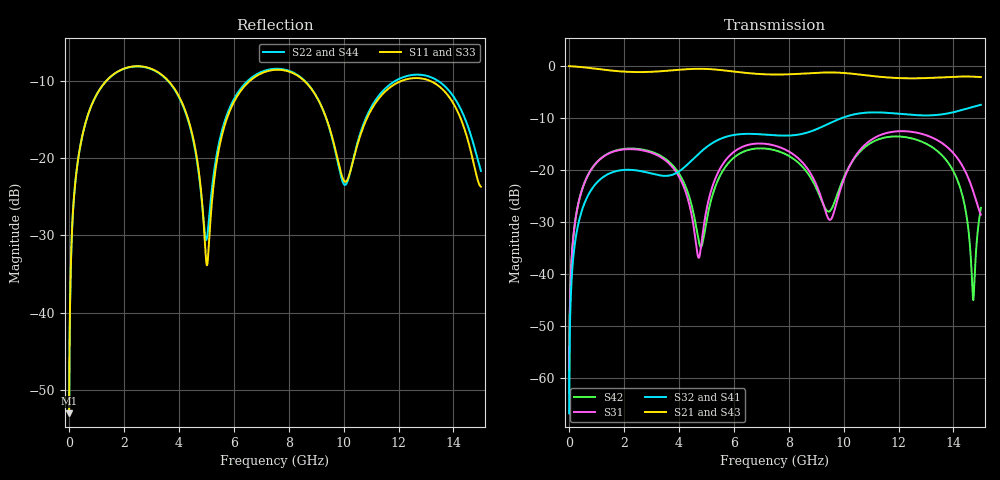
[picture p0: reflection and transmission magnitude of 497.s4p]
! Created with skrf 1.8.0 (http://scikit-rf.org).
# GHz S RI R 50.0
!freq ReS11 ImS11 ReS12 ImS12 ReS13 ImS13
! ReS14 ImS14
! ReS21 ImS21 ReS22 ImS22 ReS23 ImS23
! ReS24 ImS24
! ReS31 ImS31 ReS32 ImS32 ReS33 ImS33
! ReS34 ImS34
! ReS41 ImS41 ReS42 ImS42 ReS43 ImS43
! ReS44 ImS44
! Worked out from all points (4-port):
!   2499 points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, 5 MHz to 15 GHz, reference 50 ohm
!   strongest paths, dB at 5 MHz, 3.476 GHz, 7.19 GHz, 11.1 GHz, 15 GHz:
!     S21: 0.0, -0.9, -1.6, -1.9, -2.1
!     S43: 0.0, -0.9, -1.6, -1.9, -2.1
!     S32: -66.8, -21.1, -13.2, -8.9, -7.5
!     S41: -66.8, -21.2, -13.3, -9.0, -7.4
!     S31: -62.9, -18.0, -15.0, -13.9, -28.6
!     S42: -62.9, -17.7, -15.9, -14.5, -27.3
!   lowest |S11| = -53.0 dB at 5 MHz (marker M1), VSWR 1.00, Z = 50.2 + j0.136 ohm
!   |S11| at or under -10 dB: 3.611 GHz to 6.595 GHz (2.984 GHz wide, 58.5 % of centre); 8.561 GHz to 12.13 GHz (3.572 GHz wide, 34.5 % of centre); 13.13 GHz to end of sweep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
0.005  0.00179 0.00136  0.9982 -0.00348  9.03e-05 0.000713  -8.77e-05 -0.000447
       0.9982 -0.00348  0.00179 0.00136  -8.77e-05 -0.000447  9.04e-05 0.000713
       9.03e-05 0.000713  -8.77e-05 -0.000447  0.00179 0.00136  0.9982 -0.00348
       -8.77e-05 -0.000447  9.04e-05 0.000713  0.9982 -0.00348  0.00179 0.00136
0.3626511  0.035 0.1006  0.9516 -0.2476  0.0167 0.0476  -0.014 -0.029
           0.9516 -0.2476  0.0349 0.1006  -0.014 -0.029  0.0171 0.0475
           0.0167 0.0476  -0.014 -0.029  0.035 0.1006  0.9516 -0.2476
           -0.014 -0.029  0.0171 0.0475  0.9516 -0.2476  0.035 0.1006
1.619545  0.3097 0.1569  0.457 -0.777  0.1412 0.0514  -0.0951 0.00947
          0.457 -0.777  0.3084 0.1579  -0.0953 0.0098  0.1444 0.0458
          0.1412 0.0514  -0.0953 0.0098  0.3095 0.1571  0.457 -0.777
          -0.0951 0.00947  0.1444 0.0458  0.457 -0.777  0.3086 0.1577
5.020842  0.0202 -0.0015  -0.936 -0.0635  0.0241 0.0358  -0.00852 0.1668
          -0.936 -0.0635  0.0298 0.00522  -0.00418 0.167  -0.0107 0.0319
          0.0241 0.0358  -0.00418 0.167  0.0214 -0.00123  -0.936 -0.0633
          -0.00852 0.1668  -0.0107 0.0319  -0.936 -0.0633  0.0284 0.00559
7.640684  0.3719 -0.00096  -0.0643 0.8268  0.1406 -0.0898  0.2084 -0.0414
          -0.0643 0.8268  0.3771 -0.0122  0.209 -0.0499  0.1348 -0.068
          0.1406 -0.0898  0.209 -0.0499  0.3712 0.000605  -0.0642 0.8266
          0.2084 -0.0414  0.1348 -0.068  -0.0642 0.8266  0.379 -0.0134
10.40434  0.0889 0.0561  0.8377 -0.0554  0.0598 0.1188  -0.0353 -0.3418
          0.8377 -0.0554  0.0882 0.0615  -0.0518 -0.3398  0.0396 0.1242
          0.0598 0.1188  -0.0518 -0.3398  0.0911 0.0534  0.8377 -0.0552
          -0.0353 -0.3418  0.0396 0.1242  0.8377 -0.0552  0.0856 0.0638
15  0.0653 -0.000922  -0.7416 -0.2532  -0.0364 0.00771  -0.1422 0.3998
    -0.7416 -0.2532  0.0738 -0.0373  -0.1089 0.4098  0.0235 0.0363
    -0.0364 0.00771  -0.1089 0.4098  0.0797 -0.000836  -0.7409 -0.2548
    -0.1422 0.3998  0.0235 0.0363  -0.7409 -0.2548  0.0641 -0.0421
